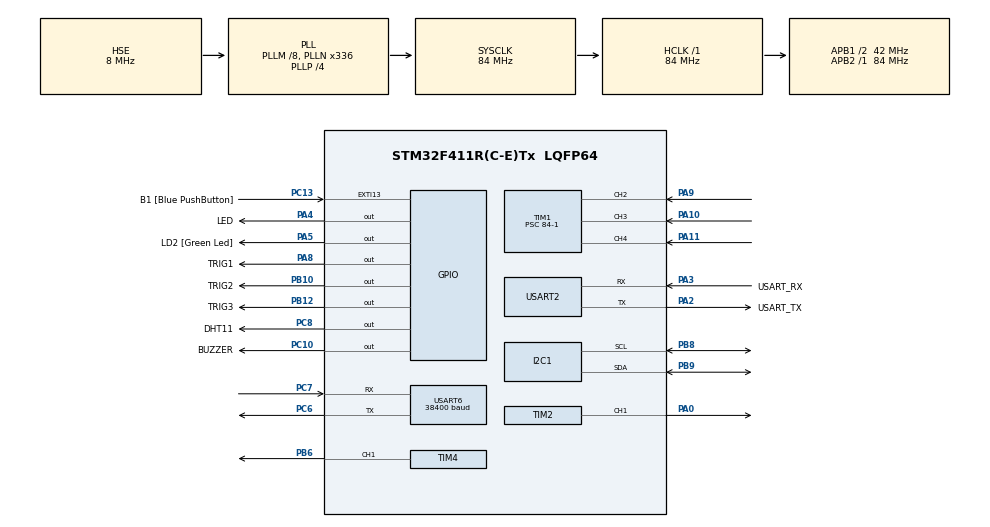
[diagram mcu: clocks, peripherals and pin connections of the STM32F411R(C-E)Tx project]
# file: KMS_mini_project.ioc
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Mcu.Family=STM32F4
Mcu.Name=STM32F411R(C-E)Tx
Mcu.Package=LQFP64
NVIC.PriorityGroup=NVIC_PRIORITYGROUP_0
NVIC.TIM1_CC_IRQn=true\:0\:0\:false\:false\:true\:true\:true\:true
NVIC.TIM3_IRQn=true\:0\:0\:false\:false\:true\:true\:true\:true
NVIC.USART2_IRQn=true\:0\:0\:false\:false\:true\:true\:true\:true
NVIC.USART6_IRQn=true\:0\:0\:false\:false\:true\:true\:true\:true
PA0-WKUP.Signal=S_TIM2_CH1_ETR
PA1.Signal=S_TIM2_CH2
PA10.Signal=S_TIM1_CH3
PA11.Signal=S_TIM1_CH4
PA13.GPIO_Label=TMS
PA13.Mode=Serial_Wire
PA13.Signal=SYS_JTMS-SWDIO
PA14.GPIO_Label=TCK
PA14.Mode=Serial_Wire
PA14.Signal=SYS_JTCK-SWCLK
PA2.GPIO_Label=USART_TX
PA2.Mode=Asynchronous
PA2.Signal=USART2_TX
PA3.GPIO_Label=USART_RX
PA3.Mode=Asynchronous
PA3.Signal=USART2_RX
PA4.GPIO_Label=LED
PA4.Signal=GPIO_Output
PA5.GPIO_Label=LD2 [Green Led]
PA5.Signal=GPIO_Output
PA8.GPIO_Label=TRIG1
PA8.Signal=GPIO_Output
PA9.Signal=S_TIM1_CH2
PB10.GPIO_Label=TRIG2
PB10.Signal=GPIO_Output
PB12.GPIO_Label=TRIG3
PB12.Signal=GPIO_Output
PB3.GPIO_Label=SWO
PB3.Signal=SYS_JTDO-SWO
PB6.Signal=S_TIM4_CH1
PB8.Mode=I2C
PB8.Signal=I2C1_SCL
PB9.Mode=I2C
PB9.Signal=I2C1_SDA
PC10.GPIO_Label=BUZZER
PC10.Signal=GPIO_Output
PC13-ANTI_TAMP.GPIO_Label=B1 [Blue PushButton]
PC13-ANTI_TAMP.GPIO_ModeDefaultEXTI=GPIO_MODE_IT_FALLING
PC13-ANTI_TAMP.Signal=GPXTI13
PC14-OSC32_IN.Signal=RCC_OSC32_IN
PC15-OSC32_OUT.Signal=RCC_OSC32_OUT
PC6.Mode=Asynchronous
PC6.Signal=USART6_TX
PC7.Mode=Asynchronous
PC7.Signal=USART6_RX
PC8.GPIO_Label=DHT11
PC8.Signal=GPIO_Output
PH0\ -\ OSC_IN.Mode=HSE-External-Oscillator
PH0\ -\ OSC_IN.Signal=RCC_OSC_IN
PH1\ -\ OSC_OUT.Mode=HSE-External-Oscillator
PH1\ -\ OSC_OUT.Signal=RCC_OSC_OUT
ProjectManager.HeapSize=0x200
ProjectManager.StackSize=0x400
ProjectManager.TargetToolchain=STM32CubeIDE
RCC.48MHZClocksFreq_Value=84000000
RCC.AHBFreq_Value=84000000
RCC.APB1CLKDivider=RCC_HCLK_DIV2
RCC.APB1Freq_Value=42000000
RCC.APB1TimFreq_Value=84000000
RCC.APB2Freq_Value=84000000
RCC.APB2TimFreq_Value=84000000
RCC.CortexFreq_Value=84000000
RCC.FLatency-AdvancedSettings=FLASH_LATENCY_2
RCC.HCLKFreq_Value=84000000
RCC.HSE_VALUE=8000000
RCC.HSI_VALUE=16000000
RCC.LSE_VALUE=32768
RCC.PLLM=8
RCC.PLLN=336
RCC.PLLP=RCC_PLLP_DIV4
RCC.PLLSourceVirtual=RCC_PLLSOURCE_HSE
RCC.SYSCLKFreq_VALUE=84000000
RCC.SYSCLKSource=RCC_SYSCLKSOURCE_PLLCLK
RCC.VCOOutputFreq_Value=336000000
SH.S_TIM1_CH2.0=TIM1_CH2,Input_Capture2_from_TI2
SH.S_TIM1_CH3.0=TIM1_CH3,Input_Capture3_from_TI3
SH.S_TIM1_CH4.0=TIM1_CH4,Input_Capture4_from_TI4
SH.S_TIM2_CH1_ETR.0=TIM2_CH1,PWM Generation1 CH1
SH.S_TIM2_CH2.0=TIM2_CH2
SH.S_TIM4_CH1.0=TIM4_CH1,PWM Generation1 CH1
TIM1.Channel-Input_Capture2_from_TI2=TIM_CHANNEL_2
TIM1.Channel-Input_Capture3_from_TI3=TIM_CHANNEL_3
TIM1.Channel-Input_Capture4_from_TI4=TIM_CHANNEL_4
TIM1.Prescaler=84-1
TIM2.Channel-PWM\ Generation1\ CH1=TIM_CHANNEL_1
TIM2.Period=2210
TIM3.AutoReloadPreload=TIM_AUTORELOAD_PRELOAD_ENABLE
TIM3.Period=1000-1
TIM3.Prescaler=84-1
TIM4.Channel-PWM\ Generation1\ CH1=TIM_CHANNEL_1
TIM4.Period=20000-1
TIM4.Prescaler=84-1
TIM4.Pulse-PWM\ Generation1\ CH1=500
USART2.VirtualMode=VM_ASYNC
USART6.BaudRate=38400
USART6.VirtualMode=VM_ASYNC
VP_TIM1_VS_ClockSourceINT.Mode=Internal
VP_TIM3_VS_ClockSourceINT.Mode=Internal
VP_TIM4_VS_ClockSourceINT.Mode=Internal
board=NUCLEO-F411RE

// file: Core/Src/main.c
/* USER CODE BEGIN Header */
/**
  ******************************************************************************
  * @file           : main.c
  * @brief          : Main program body
  ******************************************************************************
  * @attention
  *
  * Copyright (c) 2024 STMicroelectronics.
  * All rights reserved.
  *
  * This software is licensed under terms that can be found in the LICENSE file
  * in the root directory of this software component.
  * If no LICENSE file comes with this software, it is provided AS-IS.
  *
  ******************************************************************************
  */
/* USER CODE END Header */
#include "main.h"

/* USER CODE BEGIN Includes */
#include <stdio.h>
#include <string.h>
#include "esp.h"
#include "clcd.h"
#include "dht.h"
/* USER CODE END Includes */

/* USER CODE BEGIN PD */
#ifdef __GNUC__
/* With GCC, small printf (option LD Linker->Libraries->Small printf
   set to 'Yes') calls __io_putchar() */
#define PUTCHAR_PROTOTYPE int __io_putchar(int ch)
#else
#define PUTCHAR_PROTOTYPE int fputc(int ch, FILE *f)
#endif /* __GNUC__ */
#define ARR_CNT 5
#define CMD_SIZE 50

/* USER CODE END PD */

I2C_HandleTypeDef hi2c1;

TIM_HandleTypeDef htim1;
TIM_HandleTypeDef htim2;
TIM_HandleTypeDef htim3;
TIM_HandleTypeDef htim4;

UART_HandleTypeDef huart2;
UART_HandleTypeDef huart6;

/* USER CODE BEGIN PV */

// ir 송신기 관련
#define NEC_HDR_MARK   9000
#define NEC_HDR_SPACE  4500
#define NEC_BIT_MARK    560
#define NEC_ONE_SPACE  1690
#define NEC_ZERO_SPACE  560

#define DEBUG 0

// 시간
typedef struct {
  int hour;
  int min;
  int sec;
} DATETIME;
DATETIME dateTime;

// 초음파 관련 변수들
uint32_t ic_val1 = 0, ic_val2 = 0, distance = 0;
uint32_t ic2_val1 = 0, ic2_val2 = 0, distance2 = 0;
uint32_t ic3_val1 = 0, ic3_val2 = 0, distance3 = 0;
uint8_t is_first_captured = 0;
uint8_t is_2_captured = 0;
uint8_t is_3_captured = 0;
volatile uint8_t HC_flag = 0;
volatile uint8_t HC_flag3 = 0;
volatile uint8_t HC_flag2 = 0;
volatile uint8_t HC_flag1 = 1;
volatile int tim3Flag10Ms = 1;

volatile unsigned int tim3Sec = 0;

volatile int tim3Flag2Sec = 1; // 서보모터 관련 변수들

volatile uint8_t Office_flag = 0; // 회사 on/off flag

// 재난 on/off flag
volatile uint8_t Fire_flag = 0;
volatile uint8_t Eq_flag = 0;
volatile int tim3_Buzzer = 1;

volatile uint8_t Inv_flag = 1; // 침입 감지
volatile uint8_t AC_flag = 0; // 선풍기 on/off

// wifi관련 변수들
uint8_t rx2char;
extern cb_data_t cb_data;
extern volatile unsigned char rx2Flag;
extern volatile char rx2Data[50];

volatile int tim3Flag1Sec=1;
volatile unsigned int tim3Sec;

/* USER CODE END PV */

void SystemClock_Config(void);
static void MX_GPIO_Init(void);
static void MX_USART2_UART_Init(void);
static void MX_USART6_UART_Init(void);
static void MX_TIM3_Init(void);
static void MX_TIM1_Init(void);
static void MX_TIM4_Init(void);
static void MX_I2C1_Init(void);
static void MX_TIM2_Init(void);
/* USER CODE BEGIN PFP */
char strBuff[MAX_ESP_COMMAND_LEN];

void HCSR04_Read(GPIO_TypeDef *port, uint16_t pin);
void esp_event(char *);
void elec_off(void);
void clock_calc(DATETIME *datetime);
void delay_us(uint32_t us);
void pwm_on();
void pwm_off();
void send_mark(uint16_t time_us);
void send_space(uint16_t time_us);
void send_nec(uint32_t data);
/* USER CODE END PFP */

int main(void)
{

  /* USER CODE BEGIN 1 */
	int ret = 0;
	DHT11_TypeDef dht11Data;
	char time_buf[30], dht_buf[30];
  /* USER CODE END 1 */

  /* MCU Configuration--------------------------------------------------------*/

  /* Reset of all peripherals, Initializes the Flash interface and the Systick. */
  HAL_Init();

  /* Configure the system clock */
  SystemClock_Config();

  /* Initialize all configured peripherals */
  MX_GPIO_Init();
  MX_USART2_UART_Init();
  MX_USART6_UART_Init();
  MX_TIM3_Init();
  MX_TIM1_Init();
  MX_TIM4_Init();
  MX_I2C1_Init();
  MX_TIM2_Init();
  /* USER CODE BEGIN 2 */
#if DEBUG
  printf("Start main()! - MINI!\r\n");
#endif
  ret |= drv_uart_init();
  ret |= drv_esp_init();
  if(ret != 0)
  {
#if DEBUG
	  printf("Esp response error\r\n");
#endif
	  Error_Handler();
  }

  CoreDebug->DEMCR |= CoreDebug_DEMCR_TRCENA_Msk;
  DWT->CYCCNT = 0;
  DWT->CTRL |= DWT_CTRL_CYCCNTENA_Msk;

  AiotClient_Init();
  DHT11_Init();
  LCD_init(&hi2c1);

  if(HAL_TIM_Base_Start_IT(&htim3) != HAL_OK)
  {
	  Error_Handler();
  }

  if(HAL_TIM_PWM_Start(&htim4, TIM_CHANNEL_1) != HAL_OK)
  {
	  Error_Handler();
  }
  __HAL_TIM_SetCompare(&htim4, TIM_CHANNEL_1, 1800);

  esp_send_data("[GETTIME]\n");

  /* USER CODE END 2 */

  /* Infinite loop */
  /* USER CODE BEGIN WHILE */
  while (1)
  {
		if(strstr((char *)cb_data.buf,"+IPD") && cb_data.buf[cb_data.length-1] == '\n')
		{
			//?��?��?���??  \r\n+IPD,15:[KSH_LIN]HELLO\n
			strcpy(strBuff,strchr((char *)cb_data.buf,'['));
			memset(cb_data.buf,0x0,sizeof(cb_data.buf));
			cb_data.length = 0;
			esp_event(strBuff);
		}
		if(rx2Flag)
		{
#if DEBUG
			printf("recv2 : %s\r\n",rx2Data);
#endif
			rx2Flag =0;
		}
		if(tim3Flag1Sec)	//1초에 한번
		{
			tim3Flag1Sec = 0;
			clock_calc(&dateTime);
			sprintf(time_buf, "%02d : %02d : %02d    \r\n", dateTime.hour, dateTime.min, dateTime.sec);
			LCD_writeStringXY(0, 1, time_buf);

			if(!(tim3Sec % 10)) //10초에 한번
			{
				if(esp_get_status() != 0)
				{
#if DEBUG
					printf("server connecting ...\r\n");
#endif
					esp_client_conn();
				}
			}
			if(!(tim3Sec % 60)) // 60초에 한번
			{
				dht11Data = DHT11_readData();
				if(dht11Data.rh_byte1 != 255)
				{
					sprintf(dht_buf, "[KMW_SQL]SETDB@DHT@%d@%d.%d\n", dht11Data.rh_byte1, dht11Data.temp_byte1, dht11Data.temp_byte2);
					esp_send_data(dht_buf);

					sprintf(dht_buf,"h: %d%% t: %d.%d'C", dht11Data.rh_byte1, dht11Data.temp_byte1, dht11Data.temp_byte2);				}
				else
					sprintf(dht_buf,"DHT response error");
				LCD_writeStringXY(1, 1, dht_buf);

				esp_send_data("[GETTIME]\n");
			}
		}
		if(Office_flag) // 회사안에 사람이 있는지 체크
		{
			HAL_GPIO_WritePin(GPIOC, GPIO_PIN_10, GPIO_PIN_RESET);
			if(HC_flag) // 10ms
			{
			  HC_flag1 = 0;
			  HCSR04_Read(GPIOA, GPIO_PIN_8);
			  is_first_captured = 0;
			  HAL_TIM_IC_Start_IT(&htim1, TIM_CHANNEL_2);
			  while(!HC_flag1);

			  HC_flag2 = 0;
			  HCSR04_Read(GPIOB, GPIO_PIN_10);
			  is_2_captured = 0;
			  HAL_TIM_IC_Start_IT(&htim1, TIM_CHANNEL_3);
			  while(!HC_flag2);

			  if(distance <= 8 || distance2 <= 8) // 초음파 자동문 감지
			  {
				  tim3Flag2Sec = 1;
				  __HAL_TIM_SetCompare(&htim4, TIM_CHANNEL_1, 650);
			  }
			  HC_flag = 0;
			}
		}
		else if(!Office_flag && !(Eq_flag || Fire_flag)) // 회사에 사람이 없고 재난상황이 아닐 때
		{
			if(HC_flag) // 10ms
			{
				HC_flag3 = 0;
				HCSR04_Read(GPIOB, GPIO_PIN_12);
				is_3_captured = 0;
				HAL_TIM_IC_Start_IT(&htim1, TIM_CHANNEL_4);
				while(!HC_flag3);

				if(distance3 <= 22) // 초음파 침입 감지
				{
					HAL_GPIO_WritePin(GPIOC, GPIO_PIN_10, GPIO_PIN_SET);
					if(Inv_flag)
						esp_send_data("[KMW_ARD]INV\n");
					Inv_flag = 0;
				}
			}
		}
		else if(Eq_flag || Fire_flag) // 재난 상황 발생 시
		{
			tim3Flag2Sec = 1;
			__HAL_TIM_SetCompare(&htim4, TIM_CHANNEL_1, 650);
		}

    /* USER CODE END WHILE */

  }
}

void SystemClock_Config(void)
{
  RCC_OscInitTypeDef RCC_OscInitStruct = {0};
  RCC_ClkInitTypeDef RCC_ClkInitStruct = {0};

  /** Configure the main internal regulator output voltage
  */
  __HAL_RCC_PWR_CLK_ENABLE();
  __HAL_PWR_VOLTAGESCALING_CONFIG(PWR_REGULATOR_VOLTAGE_SCALE1);

  /** Initializes the RCC Oscillators according to the specified parameters
  * in the RCC_OscInitTypeDef structure.
  */
  RCC_OscInitStruct.OscillatorType = RCC_OSCILLATORTYPE_HSE;
  RCC_OscInitStruct.HSEState = RCC_HSE_ON;
  RCC_OscInitStruct.PLL.PLLState = RCC_PLL_ON;
  RCC_OscInitStruct.PLL.PLLSource = RCC_PLLSOURCE_HSE;
  RCC_OscInitStruct.PLL.PLLM = 8;
  RCC_OscInitStruct.PLL.PLLN = 336;
  RCC_OscInitStruct.PLL.PLLP = RCC_PLLP_DIV4;
  RCC_OscInitStruct.PLL.PLLQ = 4;
  if (HAL_RCC_OscConfig(&RCC_OscInitStruct) != HAL_OK)
  {
    Error_Handler();
  }

  /** Initializes the CPU, AHB and APB buses clocks
  */
  RCC_ClkInitStruct.ClockType = RCC_CLOCKTYPE_HCLK|RCC_CLOCKTYPE_SYSCLK
                              |RCC_CLOCKTYPE_PCLK1|RCC_CLOCKTYPE_PCLK2;
  RCC_ClkInitStruct.SYSCLKSource = RCC_SYSCLKSOURCE_PLLCLK;
  RCC_ClkInitStruct.AHBCLKDivider = RCC_SYSCLK_DIV1;
  RCC_ClkInitStruct.APB1CLKDivider = RCC_HCLK_DIV2;
  RCC_ClkInitStruct.APB2CLKDivider = RCC_HCLK_DIV1;

  if (HAL_RCC_ClockConfig(&RCC_ClkInitStruct, FLASH_LATENCY_2) != HAL_OK)
  {
    Error_Handler();
  }
}

static void MX_I2C1_Init(void)
{

  hi2c1.Instance = I2C1;
  hi2c1.Init.ClockSpeed = 100000;
  hi2c1.Init.DutyCycle = I2C_DUTYCYCLE_2;
  hi2c1.Init.OwnAddress1 = 0;
  hi2c1.Init.AddressingMode = I2C_ADDRESSINGMODE_7BIT;
  hi2c1.Init.DualAddressMode = I2C_DUALADDRESS_DISABLE;
  hi2c1.Init.OwnAddress2 = 0;
  hi2c1.Init.GeneralCallMode = I2C_GENERALCALL_DISABLE;
  hi2c1.Init.NoStretchMode = I2C_NOSTRETCH_DISABLE;
  if (HAL_I2C_Init(&hi2c1) != HAL_OK)
  {
    Error_Handler();
  }

}

static void MX_TIM1_Init(void)
{

  TIM_ClockConfigTypeDef sClockSourceConfig = {0};
  TIM_MasterConfigTypeDef sMasterConfig = {0};
  TIM_IC_InitTypeDef sConfigIC = {0};

  htim1.Instance = TIM1;
  htim1.Init.Prescaler = 84-1;
  htim1.Init.CounterMode = TIM_COUNTERMODE_UP;
  htim1.Init.Period = 65535;
  htim1.Init.ClockDivision = TIM_CLOCKDIVISION_DIV1;
  htim1.Init.RepetitionCounter = 0;
  htim1.Init.AutoReloadPreload = TIM_AUTORELOAD_PRELOAD_DISABLE;
  if (HAL_TIM_Base_Init(&htim1) != HAL_OK)
  {
    Error_Handler();
  }
  sClockSourceConfig.ClockSource = TIM_CLOCKSOURCE_INTERNAL;
  if (HAL_TIM_ConfigClockSource(&htim1, &sClockSourceConfig) != HAL_OK)
  {
    Error_Handler();
  }
  if (HAL_TIM_IC_Init(&htim1) != HAL_OK)
  {
    Error_Handler();
  }
  sMasterConfig.MasterOutputTrigger = TIM_TRGO_RESET;
  sMasterConfig.MasterSlaveMode = TIM_MASTERSLAVEMODE_DISABLE;
  if (HAL_TIMEx_MasterConfigSynchronization(&htim1, &sMasterConfig) != HAL_OK)
  {
    Error_Handler();
  }
  sConfigIC.ICPolarity = TIM_INPUTCHANNELPOLARITY_RISING;
  sConfigIC.ICSelection = TIM_ICSELECTION_DIRECTTI;
  sConfigIC.ICPrescaler = TIM_ICPSC_DIV1;
  sConfigIC.ICFilter = 0;
  if (HAL_TIM_IC_ConfigChannel(&htim1, &sConfigIC, TIM_CHANNEL_2) != HAL_OK)
  {
    Error_Handler();
  }
  if (HAL_TIM_IC_ConfigChannel(&htim1, &sConfigIC, TIM_CHANNEL_3) != HAL_OK)
  {
    Error_Handler();
  }
  if (HAL_TIM_IC_ConfigChannel(&htim1, &sConfigIC, TIM_CHANNEL_4) != HAL_OK)
  {
    Error_Handler();
  }

}

static void MX_TIM2_Init(void)
{

  TIM_MasterConfigTypeDef sMasterConfig = {0};
  TIM_OC_InitTypeDef sConfigOC = {0};

  htim2.Instance = TIM2;
  htim2.Init.Prescaler = 0;
  htim2.Init.CounterMode = TIM_COUNTERMODE_UP;
  htim2.Init.Period = 2210;
  htim2.Init.ClockDivision = TIM_CLOCKDIVISION_DIV1;
  htim2.Init.AutoReloadPreload = TIM_AUTORELOAD_PRELOAD_DISABLE;
  if (HAL_TIM_PWM_Init(&htim2) != HAL_OK)
  {
    Error_Handler();
  }
  sMasterConfig.MasterOutputTrigger = TIM_TRGO_RESET;
  sMasterConfig.MasterSlaveMode = TIM_MASTERSLAVEMODE_DISABLE;
  if (HAL_TIMEx_MasterConfigSynchronization(&htim2, &sMasterConfig) != HAL_OK)
  {
    Error_Handler();
  }
  sConfigOC.OCMode = TIM_OCMODE_PWM1;
  sConfigOC.Pulse = 0;
  sConfigOC.OCPolarity = TIM_OCPOLARITY_HIGH;
  sConfigOC.OCFastMode = TIM_OCFAST_DISABLE;
  if (HAL_TIM_PWM_ConfigChannel(&htim2, &sConfigOC, TIM_CHANNEL_1) != HAL_OK)
  {
    Error_Handler();
  }
  HAL_TIM_MspPostInit(&htim2);

}

static void MX_TIM3_Init(void)
{

  TIM_ClockConfigTypeDef sClockSourceConfig = {0};
  TIM_MasterConfigTypeDef sMasterConfig = {0};

  htim3.Instance = TIM3;
  htim3.Init.Prescaler = 84-1;
  htim3.Init.CounterMode = TIM_COUNTERMODE_UP;
  htim3.Init.Period = 1000-1;
  htim3.Init.ClockDivision = TIM_CLOCKDIVISION_DIV1;
  htim3.Init.AutoReloadPreload = TIM_AUTORELOAD_PRELOAD_ENABLE;
  if (HAL_TIM_Base_Init(&htim3) != HAL_OK)
  {
    Error_Handler();
  }
  sClockSourceConfig.ClockSource = TIM_CLOCKSOURCE_INTERNAL;
  if (HAL_TIM_ConfigClockSource(&htim3, &sClockSourceConfig) != HAL_OK)
  {
    Error_Handler();
  }
  sMasterConfig.MasterOutputTrigger = TIM_TRGO_RESET;
  sMasterConfig.MasterSlaveMode = TIM_MASTERSLAVEMODE_DISABLE;
  if (HAL_TIMEx_MasterConfigSynchronization(&htim3, &sMasterConfig) != HAL_OK)
  {
    Error_Handler();
  }

}

static void MX_TIM4_Init(void)
{

  TIM_ClockConfigTypeDef sClockSourceConfig = {0};
  TIM_MasterConfigTypeDef sMasterConfig = {0};
  TIM_OC_InitTypeDef sConfigOC = {0};

  htim4.Instance = TIM4;
  htim4.Init.Prescaler = 84-1;
  htim4.Init.CounterMode = TIM_COUNTERMODE_UP;
  htim4.Init.Period = 20000-1;
  htim4.Init.ClockDivision = TIM_CLOCKDIVISION_DIV1;
  htim4.Init.AutoReloadPreload = TIM_AUTORELOAD_PRELOAD_DISABLE;
  if (HAL_TIM_Base_Init(&htim4) != HAL_OK)
  {
    Error_Handler();
  }
  sClockSourceConfig.ClockSource = TIM_CLOCKSOURCE_INTERNAL;
  if (HAL_TIM_ConfigClockSource(&htim4, &sClockSourceConfig) != HAL_OK)
  {
    Error_Handler();
  }
  if (HAL_TIM_PWM_Init(&htim4) != HAL_OK)
  {
    Error_Handler();
  }
  sMasterConfig.MasterOutputTrigger = TIM_TRGO_RESET;
  sMasterConfig.MasterSlaveMode = TIM_MASTERSLAVEMODE_DISABLE;
  if (HAL_TIMEx_MasterConfigSynchronization(&htim4, &sMasterConfig) != HAL_OK)
  {
    Error_Handler();
  }
  sConfigOC.OCMode = TIM_OCMODE_PWM1;
  sConfigOC.Pulse = 500;
  sConfigOC.OCPolarity = TIM_OCPOLARITY_HIGH;
  sConfigOC.OCFastMode = TIM_OCFAST_DISABLE;
  if (HAL_TIM_PWM_ConfigChannel(&htim4, &sConfigOC, TIM_CHANNEL_1) != HAL_OK)
  {
    Error_Handler();
  }
  HAL_TIM_MspPostInit(&htim4);

}

static void MX_USART2_UART_Init(void)
{

  huart2.Instance = USART2;
  huart2.Init.BaudRate = 115200;
  huart2.Init.WordLength = UART_WORDLENGTH_8B;
  huart2.Init.StopBits = UART_STOPBITS_1;
  huart2.Init.Parity = UART_PARITY_NONE;
  huart2.Init.Mode = UART_MODE_TX_RX;
  huart2.Init.HwFlowCtl = UART_HWCONTROL_NONE;
  huart2.Init.OverSampling = UART_OVERSAMPLING_16;
  if (HAL_UART_Init(&huart2) != HAL_OK)
  {
    Error_Handler();
  }

}

static void MX_USART6_UART_Init(void)
{

  huart6.Instance = USART6;
  huart6.Init.BaudRate = 38400;
  huart6.Init.WordLength = UART_WORDLENGTH_8B;
  huart6.Init.StopBits = UART_STOPBITS_1;
  huart6.Init.Parity = UART_PARITY_NONE;
  huart6.Init.Mode = UART_MODE_TX_RX;
  huart6.Init.HwFlowCtl = UART_HWCONTROL_NONE;
  huart6.Init.OverSampling = UART_OVERSAMPLING_16;
  if (HAL_UART_Init(&huart6) != HAL_OK)
  {
    Error_Handler();
  }

}

static void MX_GPIO_Init(void)
{
  GPIO_InitTypeDef GPIO_InitStruct = {0};

  /* GPIO Ports Clock Enable */
  __HAL_RCC_GPIOC_CLK_ENABLE();
  __HAL_RCC_GPIOH_CLK_ENABLE();
  __HAL_RCC_GPIOA_CLK_ENABLE();
  __HAL_RCC_GPIOB_CLK_ENABLE();

  /*Configure GPIO pin Output Level */
  HAL_GPIO_WritePin(GPIOA, LED_Pin|LD2_Pin|TRIG1_Pin, GPIO_PIN_RESET);

  /*Configure GPIO pin Output Level */
  HAL_GPIO_WritePin(GPIOB, TRIG2_Pin|TRIG3_Pin, GPIO_PIN_RESET);

  /*Configure GPIO pin Output Level */
  HAL_GPIO_WritePin(GPIOC, DHT11_Pin|BUZZER_Pin, GPIO_PIN_RESET);

  /*Configure GPIO pin : B1_Pin */
  GPIO_InitStruct.Pin = B1_Pin;
  GPIO_InitStruct.Mode = GPIO_MODE_IT_FALLING;
  GPIO_InitStruct.Pull = GPIO_NOPULL;
  HAL_GPIO_Init(B1_GPIO_Port, &GPIO_InitStruct);

  /*Configure GPIO pins : LED_Pin LD2_Pin TRIG1_Pin */
  GPIO_InitStruct.Pin = LED_Pin|LD2_Pin|TRIG1_Pin;
  GPIO_InitStruct.Mode = GPIO_MODE_OUTPUT_PP;
  GPIO_InitStruct.Pull = GPIO_NOPULL;
  GPIO_InitStruct.Speed = GPIO_SPEED_FREQ_LOW;
  HAL_GPIO_Init(GPIOA, &GPIO_InitStruct);

  /*Configure GPIO pins : TRIG2_Pin TRIG3_Pin */
  GPIO_InitStruct.Pin = TRIG2_Pin|TRIG3_Pin;
  GPIO_InitStruct.Mode = GPIO_MODE_OUTPUT_PP;
  GPIO_InitStruct.Pull = GPIO_NOPULL;
  GPIO_InitStruct.Speed = GPIO_SPEED_FREQ_LOW;
  HAL_GPIO_Init(GPIOB, &GPIO_InitStruct);

  /*Configure GPIO pins : DHT11_Pin BUZZER_Pin */
  GPIO_InitStruct.Pin = DHT11_Pin|BUZZER_Pin;
  GPIO_InitStruct.Mode = GPIO_MODE_OUTPUT_PP;
  GPIO_InitStruct.Pull = GPIO_NOPULL;
  GPIO_InitStruct.Speed = GPIO_SPEED_FREQ_LOW;
  HAL_GPIO_Init(GPIOC, &GPIO_InitStruct);

}

/* USER CODE BEGIN 4 */
void esp_event(char * recvBuf)
{
  int i=0;
  char * pToken;
  char * pArray[ARR_CNT]={0};
  char sendBuf[MAX_UART_COMMAND_LEN]={0};

  strBuff[strlen(recvBuf)-1] = '\0';	//'\n' cut
#if DEBUG
  printf("\r\nDebug recv : %s\r\n",recvBuf);
#endif

  pToken = strtok(recvBuf,"[@]");
  while(pToken != NULL)
  {
    pArray[i] = pToken;
    if(++i >= ARR_CNT)
      break;
    pToken = strtok(NULL,"[@]");
  }

  if(!strcmp(pArray[1],"LAMP") && Office_flag && !Eq_flag && !Fire_flag)
  {
  	if(!strcmp(pArray[2],"ON"))
  	{
  		HAL_GPIO_WritePin(GPIOA, GPIO_PIN_4, GPIO_PIN_SET);
  		esp_send_data("[KMW_SQL]SETDB@LAMP@ON\n"); // db update
  	}
	else if(!strcmp(pArray[2],"OFF"))
	{
		HAL_GPIO_WritePin(GPIOA, GPIO_PIN_4, GPIO_PIN_RESET);
		esp_send_data("[KMW_SQL]SETDB@LAMP@OFF\n"); // db update
	}
  	sprintf(sendBuf,"[%s]%s@%s\n", pArray[0], pArray[1], pArray[2]);
  }

  else if(!strcmp(pArray[1], "AC") && !Eq_flag && !Fire_flag)
  {
	  if(!strcmp(pArray[2], "POW"))
	  {
		  send_nec(0xFFFF629D);
		  if(AC_flag)
		  {
			  esp_send_data("[KMW_SQL]SETDB@AC@OFF\n"); // db update
			  AC_flag = 0;
			  sprintf(sendBuf,"[%s]%s@OFF\n", pArray[0], pArray[1]);
		  }
		  else
		  {
			  esp_send_data("[KMW_SQL]SETDB@AC@ON\n"); // db update
			  AC_flag = 1;
			  sprintf(sendBuf,"[%s]%s@ON\n", pArray[0], pArray[1]);
		  }
	  }
	  else if(!strcmp(pArray[2], "DOWN"))
	  {
		  send_nec(0xFFFF906F);
	  }
	  else if(!strcmp(pArray[2], "UP"))
	  {
		  send_nec(0xFFFFE01F);
	  }
	  else if(!strcmp(pArray[2], "SLP"))
	  {
		  send_nec(0xFFFF30CF);
	  }
	  else if(!strcmp(pArray[2], "TIM"))
	  {
		  send_nec(0xFFFF7A85);
	  }
	  else if(!strcmp(pArray[2], "ROTA"))
	  {
		  send_nec(0xFFFF42BD);
	  }
	  else if(!strcmp(pArray[2], "BRIG"))
	  {
		  send_nec(0xFFFF52AD);
	  }
	  if(strcmp(pArray[2], "POW"))
	  {
		  sprintf(sendBuf, "[%s]%s@%s\n", pArray[0], pArray[1], pArray[2]);
	  }
  }

  else if(!strcmp(pArray[1], "OFFI") && !Eq_flag && !Fire_flag)
  {
	  if(!strcmp(pArray[2], "ON"))
	  {
		  Office_flag = 1;
	  }
	  else if(!strcmp(pArray[2], "OFF"))
	  {
		  elec_off();
	  }
	  sprintf(sendBuf,"[%s]%s@%s\n",pArray[0],pArray[1],pArray[2]);
  }

  else if(!strcmp(pArray[1], "DIS"))
  {
	  if(!strcmp(pArray[2], "FIRE"))
	  {
		  if(!strcmp(pArray[3], "ON"))
		  {
			  Fire_flag = 1;
			  elec_off();
		  }
		  else if(!strcmp(pArray[3], "OFF"))
		  {
			  Fire_flag = 0;
			  if(!Eq_flag)
				  HAL_GPIO_WritePin(GPIOC, GPIO_PIN_10, GPIO_PIN_RESET);
		  }
	  }
	  else if(!strcmp(pArray[2], "EQ"))
	  {
		  if(!strcmp(pArray[3], "ON"))
		  {
			  Eq_flag = 1;
			  elec_off();
		  }
		  else if(!strcmp(pArray[3], "OFF"))
		  {
			  Eq_flag = 0;
			  if(!Fire_flag)
				  HAL_GPIO_WritePin(GPIOC, GPIO_PIN_10, GPIO_PIN_RESET);
		  }
	  }
	  sprintf(sendBuf,"[%s]%s@%s@%s\n",pArray[0],pArray[1],pArray[2], pArray[3]);
  }

  else if(!strcmp(pArray[1], "INV"))
  {
	  if(!strcmp(pArray[2], "OFF"))
	  {
		  HAL_GPIO_WritePin(GPIOC, GPIO_PIN_10, GPIO_PIN_RESET);
		  Inv_flag = 1;
	  }
  }

  else if (!strcmp(pArray[0], "GETTIME"))
  {  //GETTIME
	  dateTime.hour = (pArray[1][9] - 0x30) * 10 + pArray[1][10] - 0x30;
      dateTime.min = (pArray[1][12] - 0x30) * 10 + pArray[1][13] - 0x30;
      dateTime.sec = (pArray[1][15] - 0x30) * 10 + pArray[1][16] - 0x30;
      return;
  }

  else if(!strncmp(pArray[1]," New conn",8))
  {
#if DEBUG
	  printf("Debug : %s, %s\r\n",pArray[0],pArray[1]);
#endif
	  return;
  }
  else if(!strncmp(pArray[1]," Already log",8))
  {
#if DEBUG
 	  printf("Debug : %s, %s\r\n",pArray[0],pArray[1]);
#endif
 	  esp_client_conn();
      return;
  }

  else
      return;

  esp_send_data(sendBuf);
#if DEBUG
  printf("Debug send : %s\r\n",sendBuf);
#endif
}

void elec_off(void)
{
	  esp_send_data("[KMW_SQL]SETDB@LAMP@OFF\n"); // db update
	  Office_flag = 0;
	  HAL_GPIO_WritePin(GPIOA, GPIO_PIN_4, GPIO_PIN_RESET);
	  if(AC_flag)
	  {
		  send_nec(0xFFFF629D); // IR AC OFF
		  AC_flag = 0;
		  esp_send_data("[KMW_SQL]SETDB@AC@OFF\n"); // db update
	  }
}

void HAL_TIM_PeriodElapsedCallback(TIM_HandleTypeDef *htim)		//1ms 마다 호출
{
	static int tim3Cnt = 0;
	tim3Cnt++;
	tim3Flag10Ms++;
	tim3Flag2Sec++;
	tim3_Buzzer++;

	// 초음파 감지
	if(tim3Flag10Ms >= 10)
	{
		HC_flag = 1;
		tim3Flag10Ms = 1;
	}

	if(tim3_Buzzer >= 300)
	{
		tim3_Buzzer = 1;
		if(Eq_flag || Fire_flag)
		{
			HAL_GPIO_TogglePin(GPIOC, GPIO_PIN_10);
		}
	}

	// 서보모터 2초
	if(tim3Flag2Sec >= 3000)
	{
		__HAL_TIM_SetCompare(&htim4, TIM_CHANNEL_1, 1800);
	}

	if(tim3Cnt >= 1000) //1ms * 1000 = 1Sec
	{
		tim3Flag1Sec = 1;
		tim3Cnt = 0;
		tim3Sec++;

	}
}

void HCSR04_Read(GPIO_TypeDef *port, uint16_t pin)
{
  HAL_GPIO_WritePin(port, pin, GPIO_PIN_RESET);  // TRIG LOW
  delay_us(2);
  HAL_GPIO_WritePin(port, pin, GPIO_PIN_SET);    // TRIG HIGH
  delay_us(10);  // 10us
  HAL_GPIO_WritePin(port, pin, GPIO_PIN_RESET);  // TRIG LOW
}

void HAL_TIM_IC_CaptureCallback(TIM_HandleTypeDef *htim)
{
	if(htim->Instance == TIM1 && htim->Channel == HAL_TIM_ACTIVE_CHANNEL_2)
	{
		if(is_first_captured == 0)
		{
			ic_val1 = HAL_TIM_ReadCapturedValue(htim, TIM_CHANNEL_2); // 상승 에지 시간 저장
			is_first_captured = 1;
			__HAL_TIM_SET_CAPTUREPOLARITY(htim, TIM_CHANNEL_2, TIM_INPUTCHANNELPOLARITY_FALLING); // 다음은 하강 에지 캡처
		}
		else
		{
			ic_val2 = HAL_TIM_ReadCapturedValue(htim, TIM_CHANNEL_2); // 하강 에지 시간 저장
			uint32_t diff = ic_val2 - ic_val1; // 펄스 폭 계산 (시간 차)
			distance = (diff * 0.0343) / 2; // 거리 계산
			HC_flag1 = 1;
			is_first_captured = 0;
			__HAL_TIM_SET_CAPTUREPOLARITY(htim, TIM_CHANNEL_2, TIM_INPUTCHANNELPOLARITY_RISING); // 다시 상승 에지 캡처로 설정
			HAL_TIM_IC_Stop_IT(htim, TIM_CHANNEL_2); // 캡처 인터럽트 종료
		}
	}

	if(htim->Instance == TIM1 && htim->Channel == HAL_TIM_ACTIVE_CHANNEL_3)
	{
		if(is_2_captured == 0)
		{
			ic2_val1 = HAL_TIM_ReadCapturedValue(htim, TIM_CHANNEL_3);
			is_2_captured = 1;
			__HAL_TIM_SET_CAPTUREPOLARITY(htim, TIM_CHANNEL_3, TIM_INPUTCHANNELPOLARITY_FALLING);
		}
		else
		{
			ic2_val2 = HAL_TIM_ReadCapturedValue(htim, TIM_CHANNEL_3);
			uint32_t diff = ic2_val2 - ic2_val1;
			distance2 = (diff * 0.0343) / 2;
			HC_flag2 = 1;
			is_2_captured = 0;
			__HAL_TIM_SET_CAPTUREPOLARITY(htim, TIM_CHANNEL_3, TIM_INPUTCHANNELPOLARITY_RISING);
			HAL_TIM_IC_Stop_IT(htim, TIM_CHANNEL_3);
		}
	}

	if(htim->Instance == TIM1 && htim->Channel == HAL_TIM_ACTIVE_CHANNEL_4)
	{
		if(is_3_captured == 0)
		{
			ic3_val1 = HAL_TIM_ReadCapturedValue(htim, TIM_CHANNEL_4);
			is_3_captured = 1;
			__HAL_TIM_SET_CAPTUREPOLARITY(htim, TIM_CHANNEL_4, TIM_INPUTCHANNELPOLARITY_FALLING);
		}
		else
		{
			ic3_val2 = HAL_TIM_ReadCapturedValue(htim, TIM_CHANNEL_4);
			uint32_t diff = ic3_val2 - ic3_val1;
			distance3 = (diff * 0.0343) / 2;
			HC_flag3 = 1;
			is_3_captured = 0;
			__HAL_TIM_SET_CAPTUREPOLARITY(htim, TIM_CHANNEL_4, TIM_INPUTCHANNELPOLARITY_RISING);
			HAL_TIM_IC_Stop_IT(htim, TIM_CHANNEL_4);
		}
	}
}

void clock_calc(DATETIME *dateTime) {

  dateTime->sec++;  // increment second

  if (dateTime->sec >= 60)  // if second = 60, second = 0
  {
    dateTime->sec = 0;
    dateTime->min++;

    if (dateTime->min >= 60)  // if minute = 60, minute = 0
    {
      dateTime->min = 0;
      dateTime->hour++;  // increment hour
      if (dateTime->hour == 24) {
        dateTime->hour = 0;
      }
    }
  }
}

void delay_us(uint32_t us)
{
    uint32_t start = DWT->CYCCNT;
    uint32_t ticks = us * (HAL_RCC_GetHCLKFreq() / 1000000);
    while ((DWT->CYCCNT - start) < ticks);
}

// PWM 출력 ON (Duty 33%)
void pwm_on()
{
    __HAL_TIM_SET_COMPARE(&htim2, TIM_CHANNEL_1, htim2.Init.Period / 3);
}

// PWM 출력 OFF
void pwm_off()
{
    __HAL_TIM_SET_COMPARE(&htim2, TIM_CHANNEL_1, 0);
}

// MARK: PWM ON 유지
void send_mark(uint16_t time_us)
{
    pwm_on();
    delay_us(time_us);
}

// SPACE: PWM OFF 유지
void send_space(uint16_t time_us)
{
    pwm_off();
    delay_us(time_us);
}

// NEC 32비트 데이터 전송 (LSB First)
void send_nec(uint32_t data)
{
    HAL_TIM_PWM_Start(&htim2, TIM_CHANNEL_1);

    send_mark(NEC_HDR_MARK);
    send_space(NEC_HDR_SPACE);

    for (int i = 0; i < 32; i++)
    {
        send_mark(NEC_BIT_MARK);
        if (data & 0x80000000)
            send_space(NEC_ONE_SPACE);
        else
            send_space(NEC_ZERO_SPACE);
        data <<= 1;
    }

    send_mark(NEC_BIT_MARK);  // Stop bit
    send_space(0);
    pwm_off();

    HAL_TIM_PWM_Stop(&htim2, TIM_CHANNEL_1);
}

/* USER CODE END 4 */

void Error_Handler(void)
{
  __disable_irq();
  while (1)
  {
  }
}
